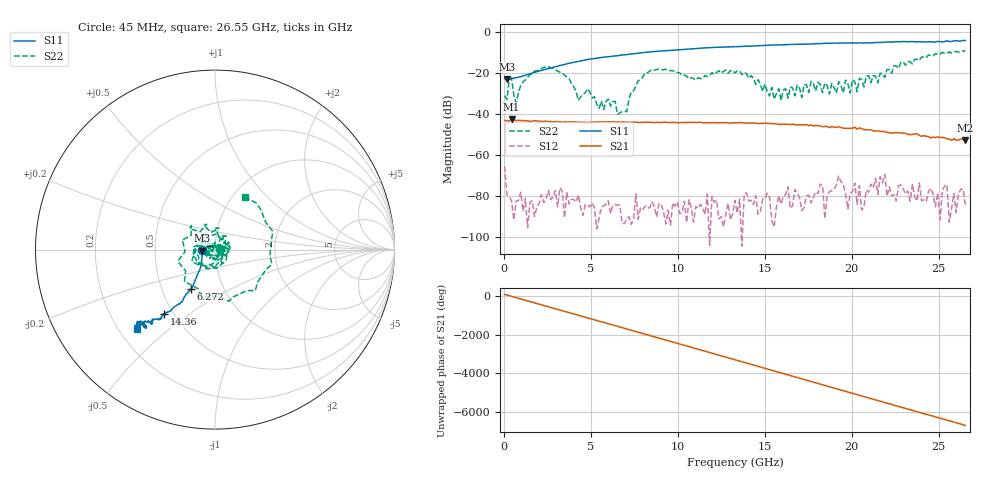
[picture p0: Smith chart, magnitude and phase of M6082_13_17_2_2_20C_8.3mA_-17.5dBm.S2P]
!  2-Port S-parameters saved by WinCal
! VAR MeasName=S-Parameters (CALIBRATED_DATA) read from VNA (C)
! VAR MeasDate=10/16/2015 1:55:16 PM
! VAR NAME=M6082_13_17_2_2_20C_8.3mA_-17.5dBm
! VAR FILENAME=M6082_13_17_2_2_20C_8.3mA_-17.5dBm.S2P
! VAR DATE=10/16/2015 1:55:16 PM
! VAR PHYS_PORTS=2,1
! VAR ObjTypeName=DATASET
! VAR IndexType=Frequency
# Hz S RI R 50
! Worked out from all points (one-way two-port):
!   201 points, 45 MHz to 26.55 GHz, reference 50 ohm
!   highest |S21| = -42.36 dB at 442.5 MHz (marker M1); lowest = -52.9 dB at 26.55 GHz (marker M2)
!   lowest |S11| = -22.9 dB at 177.5 MHz (marker M3), VSWR 1.15, Z = 43.3 - j0.484 ohm
!   |S11| at or under -10 dB: start of sweep to 8.072 GHz
!   |S22| runs from -40.2 to -9.2 dB; largest |S21 - S12| = 0.0076
!   S11 on the Smith chart (normalised r, x): 45 MHz: 0.86, -0.00; 6.272 GHz: 0.70, -0.33; 14.36 GHz: 0.44, -0.40; 26.55 GHz: 0.27, -0.39
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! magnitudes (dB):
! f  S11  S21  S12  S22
! 45 MHz  -22.8  -43.1  -65.5  -31.0
! 177.5 MHz  -22.9  -43.3  -79.4  -32.8
! 442.5 MHz  -22.8  -42.4  -82.3  -22.4
! 707.5 MHz  -22.3  -43.2  -82.4  -34.5
! 2.43 GHz  -18.1  -43.5  -81.5  -16.9
! 4.55 GHz  -13.9  -44.1  -89.4  -30.3
! 6.272 GHz  -11.8  -43.7  -84.4  -33.9
! 7.067 GHz  -11.0  -44.0  -91.3  -38.9
! 7.73 GHz  -10.3  -44.2  -91.4  -23.7
! 8.922 GHz  -9.4  -44.2  -83.6  -18.0
! 13.29 GHz  -7.1  -44.3  -82.2  -20.0
! 14.36 GHz  -6.8  -44.3  -84.2  -22.5
! 15.95 GHz  -6.2  -45.2  -84.0  -33.4
! 17.8 GHz  -5.8  -45.8  -80.9  -25.1
! 19.26 GHz  -5.4  -46.2  -70.3  -24.2
! 19.79 GHz  -5.3  -47.1  -86.4  -25.3
! 21.38 GHz  -5.1  -48.3  -71.5  -21.5
! 21.51 GHz  -5.1  -48.2  -79.2  -24.8
! 21.91 GHz  -5.0  -48.5  -69.5  -22.2
! 22.04 GHz  -4.9  -49.0  -80.1  -18.3
! 22.17 GHz  -4.9  -49.1  -75.6  -18.3
! 26.55 GHz  -4.1  -52.9  -84.8  -9.5
